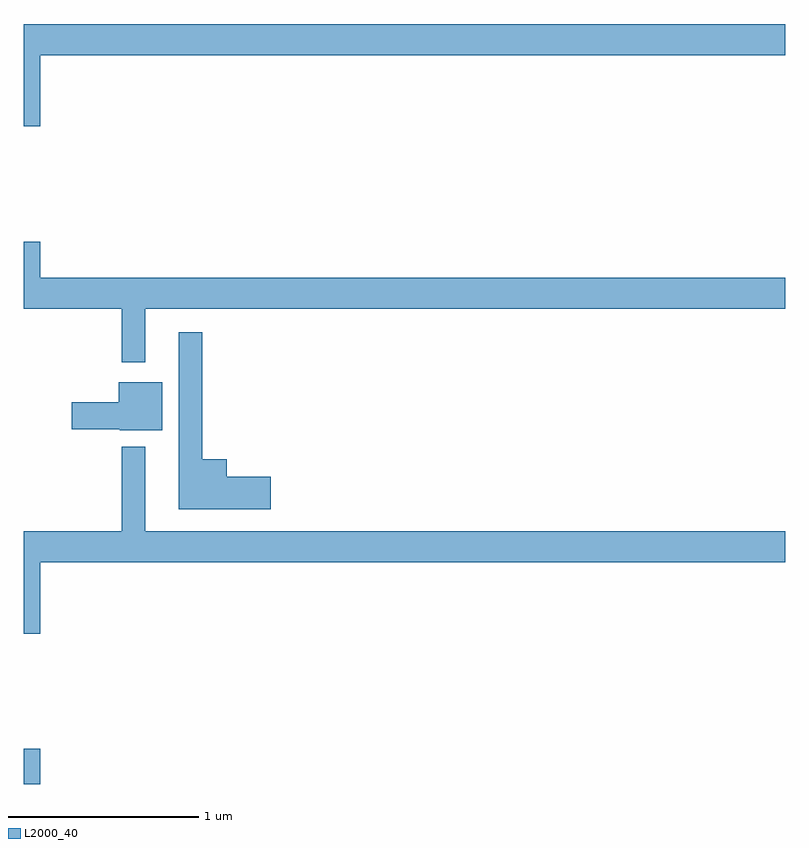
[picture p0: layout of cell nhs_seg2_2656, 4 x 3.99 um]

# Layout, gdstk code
import gdstk
lib = gdstk.Library(unit=1e-6, precision=1e-09)
def R(c, l, rs):  # rectangles x0, y0, x1, y1
    for r in rs: c.add(gdstk.rectangle(r[:2], r[2:], *l))
def P(c, l, *ps):  # polygons
    for p in ps: c.add(gdstk.Polygon(p, *l))
L2000_40 = (2000, 40)

nhs_seg2_2656 = lib.new_cell('nhs_seg2_2656')
R(nhs_seg2_2656, L2000_40, [(249,651.8,249.088,651.985)])
P(nhs_seg2_2656, L2000_40, [(249.088,655.628),(253,655.628),(253,655.792),(249,655.792),(249,655.254),(249.088,655.254)],
  [(249.637,654.296),(253,654.296),(253,654.46),(249.088,654.46),(249.088,654.649),(249,654.649),(249,654.296),(249.516,654.296),(249.516,654.015),(249.637,654.015)],
  [(250.297,653.414),(250.066,653.414),(250.066,653.506),(249.937,653.506),(249.937,654.172),(249.815,654.172),(249.815,653.243),(250.297,653.243)],
  [(249.727,653.911),(249.5,653.911),(249.5,653.805),(249.252,653.805),(249.252,653.663),(249.504,653.663),(249.504,653.657),(249.727,653.657)],
  [(249.088,652.964),(253,652.964),(253,653.128),(249.637,653.128),(249.637,653.572),(249.516,653.572),(249.516,653.128),(249,653.128),(249,652.59),(249.088,652.59)])

lib.write_gds('nhs_seg2_2656.gds')
